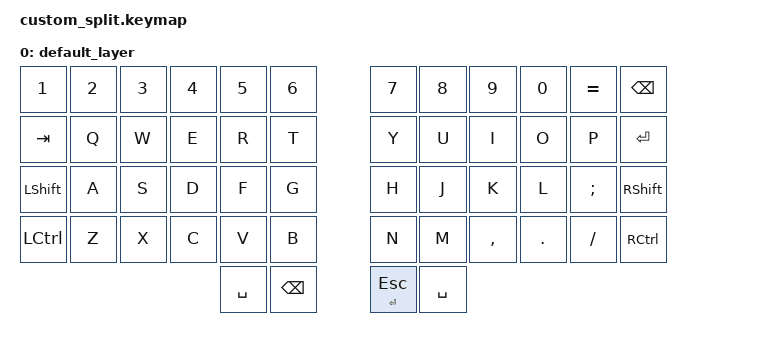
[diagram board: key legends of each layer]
#include <behaviors.dtsi>
#include <dt-bindings/zmk/keys.h>
#include <dt-bindings/zmk/bt.h>

/ {
    keymap {
        compatible = "zmk,keymap";

        default_layer {
            // Base Layer based on your drawing
            bindings = <
&kp N1    &kp N2 &kp N3 &kp N4 &kp N5 &kp N6       &kp N7  &kp N8 &kp N9    &kp N0   &kp EQUAL &kp BSPC
&kp TAB   &kp Q  &kp W  &kp E  &kp R  &kp T        &kp Y   &kp U  &kp I     &kp O    &kp P     &kp RET
&kp LSHFT &kp A  &kp S  &kp D  &kp F  &kp G        &kp H   &kp J  &kp K     &kp L    &kp SEMI  &kp RSHFT
&kp LCTRL &kp Z  &kp X  &kp C  &kp V  &kp B        &kp N   &kp M  &kp COMMA &kp DOT  &kp FSLH  &kp RCTRL
                        &kp SPACE &kp BSPC         &mt RET ESC &kp SPACE
            >;
        };
    };
};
